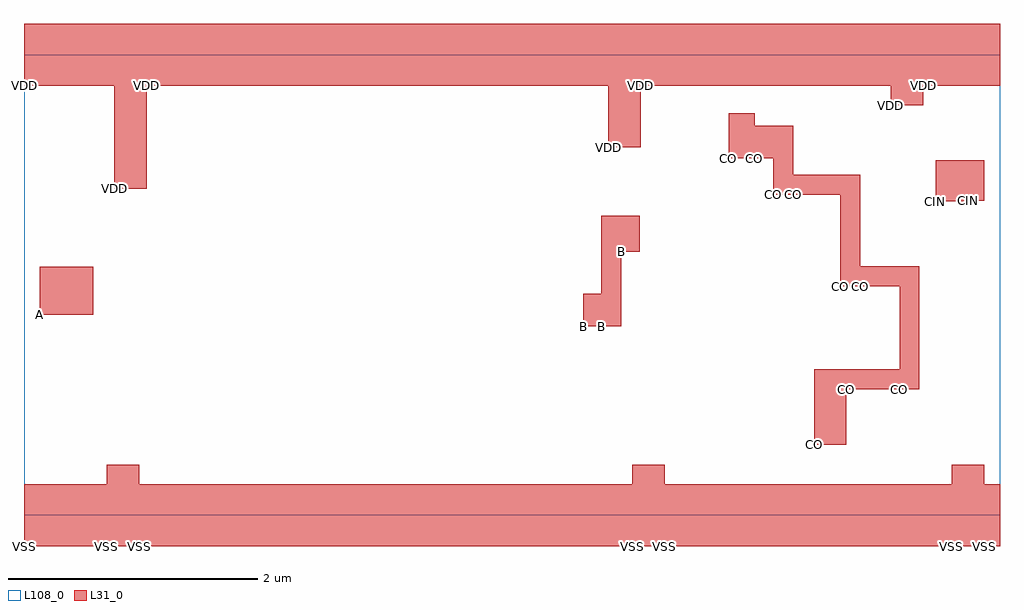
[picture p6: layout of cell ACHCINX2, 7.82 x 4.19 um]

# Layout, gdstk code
import gdstk
lib = gdstk.Library(unit=1e-6, precision=1e-09)
def R(c, l, rs):  # rectangles x0, y0, x1, y1
    for r in rs: c.add(gdstk.rectangle(r[:2], r[2:], *l))
L31_0 = (31, 0)
L108_0 = (108, 0)

achcinx2 = lib.new_cell('ACHCINX2')
R(achcinx2, L31_0, [(0,-0.25,0.665,0.25), (0.665,-0.25,0.925,0.405), (0.925,-0.25,4.875,0.25), (4.875,-0.25,5.135,0.405), (5.135,-0.25,7.435,0.25), (7.435,-0.25,7.695,0.405), (7.695,-0.25,7.82,0.25), (6.33,0.565,6.59,1.17), (6.59,1.01,7.015,1.17), (7.015,1.01,7.175,1.995), (4.48,1.515,4.625,1.775), (4.625,1.515,4.785,2.4), (0.125,1.605,0.555,1.99), (6.54,1.835,6.7,2.73), (6.7,1.835,7.015,1.995), (4.785,2.11,4.935,2.4), (7.305,2.515,7.565,2.845), (7.565,2.52,7.695,2.845), (6.005,2.57,6.165,3.12), (6.165,2.57,6.54,2.73), (0.725,2.615,0.985,3.94), (5.645,2.86,5.855,3.22), (5.855,2.86,6.005,3.12), (4.68,2.95,4.94,3.94), (6.945,3.285,7.205,3.94), (0,3.44,0.725,3.94), (0.985,3.44,4.68,3.94), (4.94,3.44,6.945,3.94), (7.205,3.44,7.82,3.94)])
R(achcinx2, L108_0, [(0,0,7.82,3.69)])
achcinx2.add(gdstk.Label('CO', (5.645,2.86), layer=131, texttype=0))
achcinx2.add(gdstk.Label('CO', (5.855,2.86), layer=131, texttype=0))
achcinx2.add(gdstk.Label('CO', (6.005,2.57), layer=131, texttype=0))
achcinx2.add(gdstk.Label('CO', (6.165,2.57), layer=131, texttype=0))
achcinx2.add(gdstk.Label('CO', (6.33,0.565), layer=131, texttype=0))
achcinx2.add(gdstk.Label('CO', (6.54,1.835), layer=131, texttype=0))
achcinx2.add(gdstk.Label('CO', (6.7,1.835), layer=131, texttype=0))
achcinx2.add(gdstk.Label('CO', (6.59,1.01), layer=131, texttype=0))
achcinx2.add(gdstk.Label('CO', (7.015,1.01), layer=131, texttype=0))
achcinx2.add(gdstk.Label('CIN', (7.305,2.515), layer=131, texttype=0))
achcinx2.add(gdstk.Label('CIN', (7.565,2.52), layer=131, texttype=0))
achcinx2.add(gdstk.Label('B', (4.48,1.515), layer=131, texttype=0))
achcinx2.add(gdstk.Label('B', (4.625,1.515), layer=131, texttype=0))
achcinx2.add(gdstk.Label('B', (4.785,2.11), layer=131, texttype=0))
achcinx2.add(gdstk.Label('A', (0.125,1.605), layer=131, texttype=0))
achcinx2.add(gdstk.Label('VSS', (0,-0.25), layer=131, texttype=0))
achcinx2.add(gdstk.Label('VSS', (0.665,-0.25), layer=131, texttype=0))
achcinx2.add(gdstk.Label('VSS', (0.925,-0.25), layer=131, texttype=0))
achcinx2.add(gdstk.Label('VSS', (4.875,-0.25), layer=131, texttype=0))
achcinx2.add(gdstk.Label('VSS', (5.135,-0.25), layer=131, texttype=0))
achcinx2.add(gdstk.Label('VSS', (7.435,-0.25), layer=131, texttype=0))
achcinx2.add(gdstk.Label('VSS', (7.695,-0.25), layer=131, texttype=0))
achcinx2.add(gdstk.Label('VDD', (0,3.44), layer=131, texttype=0))
achcinx2.add(gdstk.Label('VDD', (0.725,2.615), layer=131, texttype=0))
achcinx2.add(gdstk.Label('VDD', (0.985,3.44), layer=131, texttype=0))
achcinx2.add(gdstk.Label('VDD', (4.68,2.95), layer=131, texttype=0))
achcinx2.add(gdstk.Label('VDD', (4.94,3.44), layer=131, texttype=0))
achcinx2.add(gdstk.Label('VDD', (6.945,3.285), layer=131, texttype=0))
achcinx2.add(gdstk.Label('VDD', (7.205,3.44), layer=131, texttype=0))

lib.write_gds('ACHCINX2.gds')
